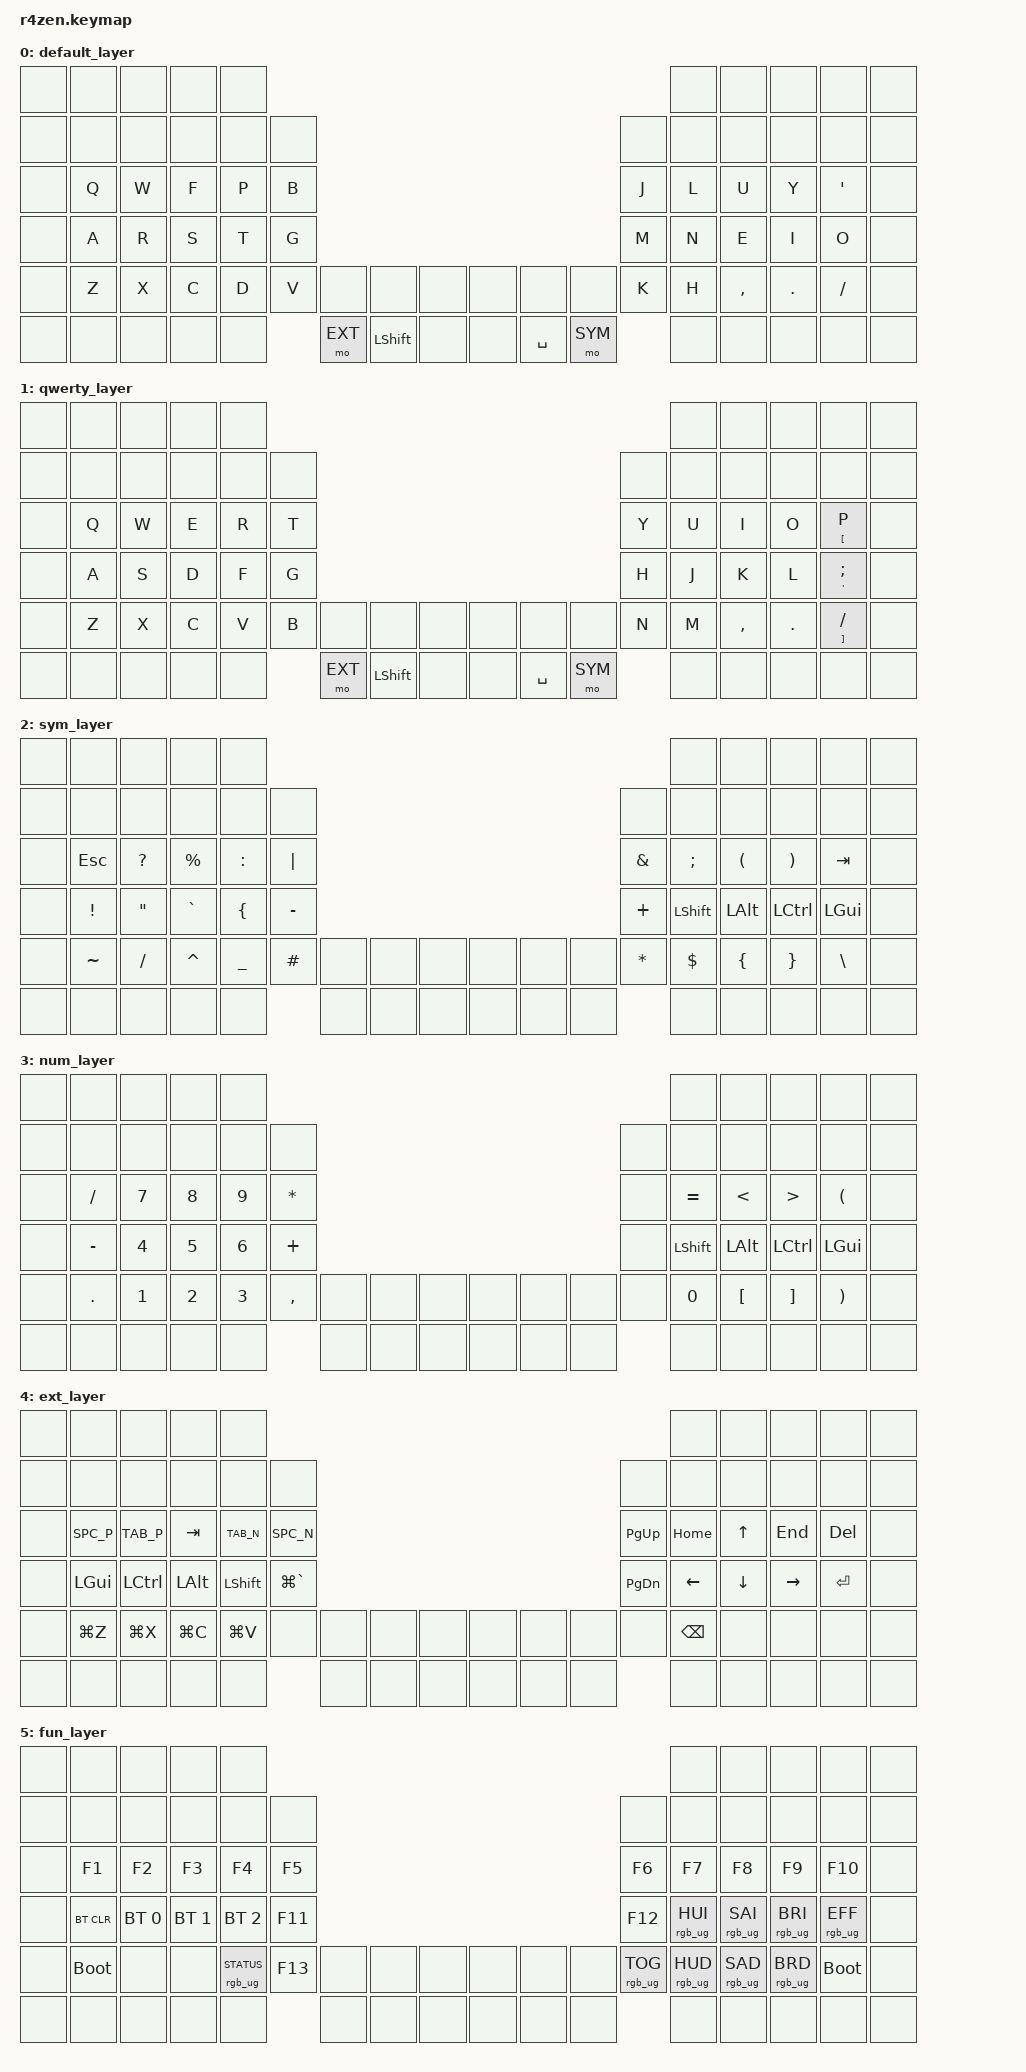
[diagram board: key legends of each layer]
/*
 * Copyright (c) 2020 The ZMK Contributors
 *
 * SPDX-License-Identifier: MIT
 */

 // Layer definitions
    #define ALL_LAYERS 0 1 2 3 4 5
    #define COLEMAK 0 2 3 4 5
    #define BASE 0
    #define QWERTY 1
    #define SYM 2
    #define NUM 3
    #define EXT 4
    #define FNC 5
// -----------------

#include <behaviors.dtsi>
#include <dt-bindings/zmk/keys.h>
#include <dt-bindings/zmk/bt.h>
#include <dt-bindings/zmk/ext_power.h>
#include <dt-bindings/zmk/outputs.h>
#include <dt-bindings/zmk/rgb.h>

#define SPC_P (LC(LEFT))
#define SPC_N (LC(RIGHT))
#define TAB_P (LG(LS(LBKT)))
#define TAB_N (LG(LS(RBKT)))

&mt {
   tapping_term_ms = <200>;
};

&lt {
   tapping_term_ms = <200>;
};

/ {
    // behaviors {
    //     #include "shift.dtsi"
    // };

    combos {
        #include "combos.dtsi"    
    };

    macros {
        #include "macros.dtsi"
    };

    keymap {
        compatible = "zmk,keymap";

        default_layer {
            // Default layer using Colemak-DH alphas
            // ESC + SHIFT                    -> ⌘
            // SPC + SYM                      -> FNC layer
            // SHIFT + SPC                    -> F14 (SHIFT+CTRL+OPTION+CMD mapping through Karabiner)
            // ESC + SHIFT + SPC + SYM        -> switch to QWERTY layer


            // ---------------------------------------------------------------------------------------------------------------------------------
            // |       |     |     |      |      |                                                               |       |       |      |       |      |
            // |       |     |     |      |      |      |                                                 |      |       |       |      |       |      |
            // |       |  Q  |  W  |  F   |  P   |  B   |                                                 |  J   |   L   |   U   |  Y   |   '   |      |
            // |       |  A  |  R  |  S   |  T   |  G   |                                                 |  M   |   N   |   E   |  I   |   O   |      |
            // |       |  Z  |  X  |  C   |  D   |  V   |       |       |       | |       |       |       |  K   |   H   |   ,   |  .   |   /   |      |
            // |       |     |     |      |      |      |  EXT  | SHIFT |       | |       |  SPC  |  SYM  |      |       |       |      |       |      |


            bindings = <
            &none  &none  &none  &none  &none                                                                        &none   &none      &none    &none     &none
            &none  &none  &none  &none  &none  &none                                                         &none   &none   &none      &none    &none     &none
            &none  &kp Q  &kp W  &kp F  &kp P  &kp B                                                         &kp J   &kp L   &kp U      &kp Y    &kp SQT   &none
            &none  &kp A  &kp R  &kp S  &kp T  &kp G                                                         &kp M   &kp N   &kp E      &kp I    &kp O     &none
            &none  &kp Z  &kp X  &kp C  &kp D  &kp V  &none    &none       &none  &none  &none      &none    &kp K   &kp H   &kp COMMA  &kp DOT  &kp FSLH  &none
            &none  &none  &none  &none  &none         &mo EXT  &kp LSHIFT  &none  &none  &kp SPACE  &mo SYM          &none   &none      &none    &none     &none
            >;
        };

        qwerty_layer {
            // This layer is meant to be toggled when using any other languages than English: French, Russian, Ukrainian, etc.
            // All other mod/layer-taps are copied from BASE layer
            // tap ESC + SHIFT + SPC + SYM    -> switch to COLEMAK-DH layer
            // P, ; and / keys are mods for [, ' and ] keys to enable missing letters from alphabets which need all 33 keys available


            // ---------------------------------------------------------------------------------------------------------------------------------
            // |       |     |     |      |      |                                                               |       |       |      |       |      |
            // |       |     |     |      |      |      |                                                 |      |       |       |      |       |      |
            // |       |  Q  |  W  |  E   |  R   |  T   |                                                 |  Y   |   U   |   I   |  O   |  P([) |      |
            // |       |  A  |  S  |  D   |  F   |  G   |                                                 |  H   |   J   |   K   |  L   |  ;(') |      |
            // |       |  Z  |  X  |  C   |  V   |  B   |       |       |       | |       |       |       |  N   |   M   |   ,   |  .   |  /(]) |      |
            // |       |     |     |      |      |      |  ESC  | SHIFT |       | |       |  SPC  |  SYM  |      |       |       |      |       |      |


            bindings = <
            &none  &none  &none  &none  &none                                                                        &none   &none      &none    &none          &none
            &none  &none  &none  &none  &none  &none                                                         &none   &none   &none      &none    &none          &none
            &none  &kp Q  &kp W  &kp E  &kp R  &kp T                                                         &kp Y   &kp U   &kp I      &kp O    &mt LBKT P     &none
            &none  &kp A  &kp S  &kp D  &kp F  &kp G                                                         &kp H   &kp J   &kp K      &kp L    &mt SQT SEMI   &none
            &none  &kp Z  &kp X  &kp C  &kp V  &kp B  &none    &none       &none  &none  &none      &none    &kp N   &kp M   &kp COMMA  &kp DOT  &mt RBKT FSLH  &none
            &none  &none  &none  &none  &none         &mo EXT  &kp LSHIFT  &none  &none  &kp SPACE  &mo SYM          &none   &none      &none    &none          &none
            >;
        };

        sym_layer {
            // Symbol layer


            // ---------------------------------------------------------------------------------------------------------------------------------
            // |       |      |      |      |      |                                                               |       |       |        |       |      |
            // |       |      |      |      |      |      |                                                 |      |       |       |        |       |      |
            // |       | ESC  |  ?   |  %   |  :   |  |   |                                                 |  &   |   ;   |   (   |   )    |  TAB  |      |
            // |       |  !   |  "   |  `   |  =   |  -   |                                                 |  +   | SHIFT |OPTION |  CTRL  |  CMD  |      |
            // |       |  ~   |  /   |  ^   |  _   |  #   |       |       |       | |       |       |       |  *   |   $   |   {   |   }    |   \   |      |
            // |       |      |      |      |      |      |       |       |       | |       |       |PRESSED|      |       |       |        |       |      |


            bindings = <
            &none   &none      &none      &none        &none                                                                     &none       &none     &none      &none     &none
            &none   &none      &none      &none        &none      &none                                                &none     &none       &none     &none      &none     &none
            &none   &kp ESC    &kp QMARK  &kp PERCENT  &kp COLON  &kp PIPE                                             &kp AMPS  &kp SEMI    &kp LPAR  &kp RPAR   &kp TAB   &none
            &none   &kp EXCL   &kp DQT    &kp GRAVE    &kp LBRC   &kp MINUS                                            &kp PLUS  &kp LSHIFT  &kp LALT  &kp LCTRL  &kp LGUI  &none
            &none   &kp TILDE  &kp FSLH   &kp CARET    &kp UNDER  &kp HASH   &none  &none  &none  &none  &none  &none  &kp STAR  &kp DOLLAR  &kp LBRC  &kp RBRC   &kp BSLH  &none
            &none   &none      &none      &none        &none                 &none  &none  &none  &none  &none  &none            &none       &none     &none      &none     &none
            >;
        };

        num_layer {
            // Number layer


            // ---------------------------------------------------------------------------------------------------------------------------------
            // |       |      |      |      |      |                                                               |       |       |        |       |      |
            // |       |      |      |      |      |      |                                                 |      |       |       |        |       |      |
            // |       |  /   |  7   |  8   |  9   |  *   |                                                 |      |   =   |   <   |   >    |   (   |      |
            // |       |  -   |  4   |  5   |  6   |  +   |                                                 |      | SHIFT |OPTION |  CTRL  |  CMD  |      |
            // |       |  .   |  1   |  2   |  3   |  ,   |       |       |       | |       |       |       |      |   0   |   [   |   ]    |   )   |      |
            // |       |      |      |      |      |      |       |       |       | |       |PRESSED|PRESSED|      |       |       |        |       |      |


            bindings = <
            &none   &none      &none   &none   &none                                                                &none       &none     &none      &none     &none
            &none   &none      &none   &none   &none   &none                                                 &none  &none       &none     &none      &none     &none
            &none   &kp FSLH   &kp N7  &kp N8  &kp N9  &kp STAR                                              &none  &kp EQUAL   &kp LT    &kp GT     &kp LPAR  &none
            &none   &kp MINUS  &kp N4  &kp N5  &kp N6  &kp PLUS                                              &none  &kp LSHIFT  &kp LALT  &kp LCTRL  &kp LGUI  &none
            &none   &kp DOT    &kp N1  &kp N2  &kp N3  &kp COMMA   &none  &none  &none  &none  &none  &none  &none  &kp N0      &kp LBKT  &kp RBKT   &kp RPAR  &none
            &none   &none      &none   &none   &none               &none  &none  &none  &none  &none  &none         &none       &none     &none      &none     &none
            >;
        };

        ext_layer {
            // Extension layer: Navigation, less used keys like TAB and RETURN, secondary SYM layer
            // CAPS is caps_word by default. use with SHIFT for caps_lock
            // SHIFT, CTRL, OPTION, CMD are enabled on left-hand home row for things like CMD+TAB, SHIFT+ENTER, SHIFT+CAPS, SHIFT+ etc.
            // Left bottom row is duplicated from main sym layer with a switch between grave and colon to enable shift+`


            // ---------------------------------------------------------------------------------------------------------------------------------
            // |       |     |     |      |     |                                                              |       |       |      |       |      |
            // |       |     |     |      |     |     |                                                 |      |       |       |      |       |      |
            // |       |SPC_P|TAB_P| TAB  |TAB_N|SPC_N|                                                 | PGUP | HOME  |   ↑   | END  |  DEL  |      |
            // |       | CMD |CTRL |OPTION|SHIFT|OPN_N|                                                 | PGDN |   ←   |   ↓   |  →   |  RET  |      |
            // |       |UNDO | CUT | COPY |PASTE|     |       |       |       | |       |       |       |      |   ⌫   |       |      |       |      |
            // |       |     |     |      |     |     |PRESSED|       |       | |       |       |       |      |       |       |      |       |      |


            bindings = <
            &none   &none       &none      &none      &none                                                                           &none      &none      &none       &none       &none
            &none   &none       &none      &none      &none       &none                                                    &none      &none      &none      &none       &none       &none
            &none   &kp SPC_P   &kp TAB_P  &kp TAB    &kp TAB_N   &kp SPC_N                                                &kp PG_UP  &kp HOME   &kp UP     &kp END     &kp DEL     &none
            &none   &kp LGUI    &kp LCTRL  &kp LALT   &kp LSHIFT  &kp LG(GRAVE)                                            &kp PG_DN  &kp LEFT   &kp DOWN   &kp RIGHT   &kp RET     &none
            &none   &kp LG(Z)   &kp LG(X)  &kp LG(C)  &kp LG(V)   &none          &none  &none  &none  &none  &none  &none  &none      &kp BSPC   &none      &none       &none       &none
            &none   &none       &none      &none      &none                      &none  &none  &none  &none  &none  &none             &none      &none      &none       &none       &none
            >;
        };

        fun_layer {
            // FN/Media/settings layer
            // Function keys, RGB controls, bluetooth input controls


            // ---------------------------------------------------------------------------------------------------------------------------------
            // |       |      |      |      |          |                                                               |       |       |      |       |      |
            // |       |      |      |      |          |      |                                                 |      |       |       |      |       |      |
            // |       |  F1  |  F2  |  F3  |    F4    |  F5  |                                                 |  F6  |  F7   |  F8   |  F9  |  F10  |      |
            // |       |BT_CLR| BT_0 | BT_1 |   BT_2   |  F11 |                                                 |  F12 |RGBHUE |RGBSAT |RGBBRI|RGBMODE|      |
            // |       | BOOT |      |      |RGB_STATUS|  F13 |       |       |       | |       |       |       |RGBTOG|RGBHUD |RGBSAD |RGBBRD|  BOOT |      |
            // |       |      |      |      |          |      |PRESSED|PRESSED|       | |       |       |       |      |       |       |      |       |      |


            bindings = <
            &none   &none        &none         &none         &none                                                                                   &none            &none            &none            &none            &none
            &none   &none        &none         &none         &none               &none                                              &none            &none            &none            &none            &none            &none
            &none   &kp F1       &kp F2        &kp F3        &kp F4              &kp F5                                             &kp F6           &kp F7           &kp F8           &kp F9           &kp F10          &none
            &none   &bt BT_CLR   &bt BT_SEL 0  &bt BT_SEL 1  &bt BT_SEL 2        &kp F11                                            &kp F12          &rgb_ug RGB_HUI  &rgb_ug RGB_SAI  &rgb_ug RGB_BRI  &rgb_ug RGB_EFF  &none
            &none   &bootloader  &none         &none         &rgb_ug RGB_STATUS  &kp F13  &none  &none  &none  &none  &none  &none  &rgb_ug RGB_TOG  &rgb_ug RGB_HUD  &rgb_ug RGB_SAD  &rgb_ug RGB_BRD  &bootloader      &none
            &none   &none        &none         &none         &none                        &none  &none  &none  &none  &none  &none                   &none            &none            &none            &none            &none
            >;
        };
    };
};
